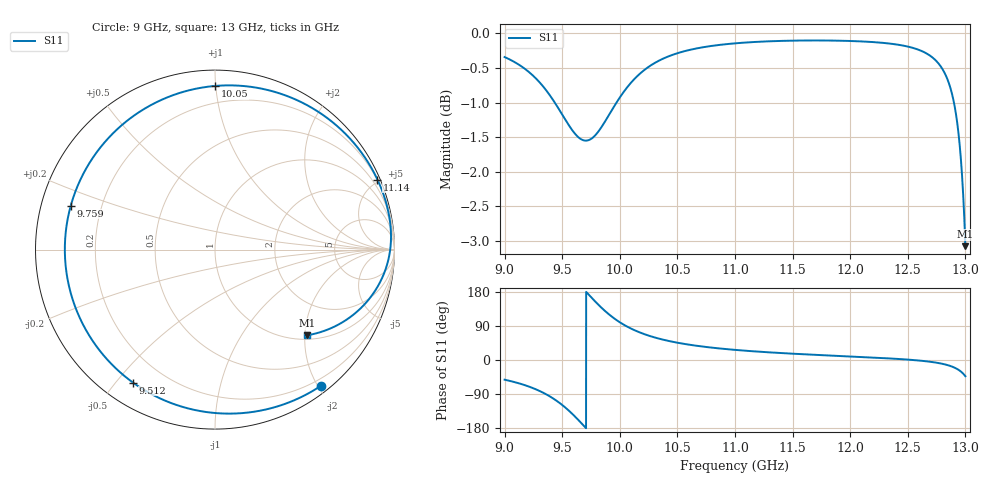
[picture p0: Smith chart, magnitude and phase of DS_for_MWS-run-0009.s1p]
! TOUCHSTONE file generated by CST DESIGN STUDIO
! Date and time: Tue Feb  4 18:04:05 2025
! Project name: C:\Work\MatlabApps\UnitCellOptimizationMatlab\CST\unitcell.cst
! Tree item: Tasks\Sweep1\SPara1\S-Parameters
! Header version: 2024
! Port assignment regex: !\s*Touchstone port\s*([0-9]+)\s*=\s*(CST MWS port|CST DES external port|CST DES block port)\s*(.+)\s* \(\"(.*)\"\)(\s*mode\s*([0-9]+))?.*
! Touchstone port assignment:
! Touchstone port 1 = CST DES external port 1 ("")
# GHz S MA R 50
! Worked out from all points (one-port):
!   4001 points, 9 GHz to 13 GHz, reference 50 ohm
!   lowest |S11| = -3.1 dB at 13 GHz (marker M1), VSWR 5.71, Z = 54.8 - j103 ohm
!   |S11| at or under -10 dB: nowhere
!   S11 on the Smith chart (normalised r, x): 9 GHz: 0.10, -2.05; 9.512 GHz: 0.09, -0.55; 9.759 GHz: 0.09, +0.15; 10.05 GHz: 0.09, +1.00; 11.14 GHz: 0.18, +4.84; 13 GHz: 1.10, -2.06
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9  0.9615 -52.0
9.134  0.9482 -62.4
9.259  0.9301 -75.8
9.394  0.9019 -96.3
9.5  0.8738 -118.7
9.512  0.8705 -121.6
9.578  0.8534 -139.4
9.649  0.8403 -161.1
9.704  0.8367 -179.0
9.759  0.84 163.1
9.822  0.8512 143.5
9.879  0.8657 127.4
9.937  0.8819 113.0
10  0.8989 99.6
10.053  0.9118 90.0
10.15  0.9312 75.7
10.253  0.9463 64.1
10.5  0.9676 45.6
10.718  0.9772 35.5
11  0.9837 26.7
11.142  0.9856 23.3
11.5  0.9881 16.6
12  0.9875 9.3
12.5  0.9784 1.1
12.71  0.9614 -5.3
12.855  0.9214 -14.3
12.934  0.8555 -24.7
13  0.7019 -42.8
